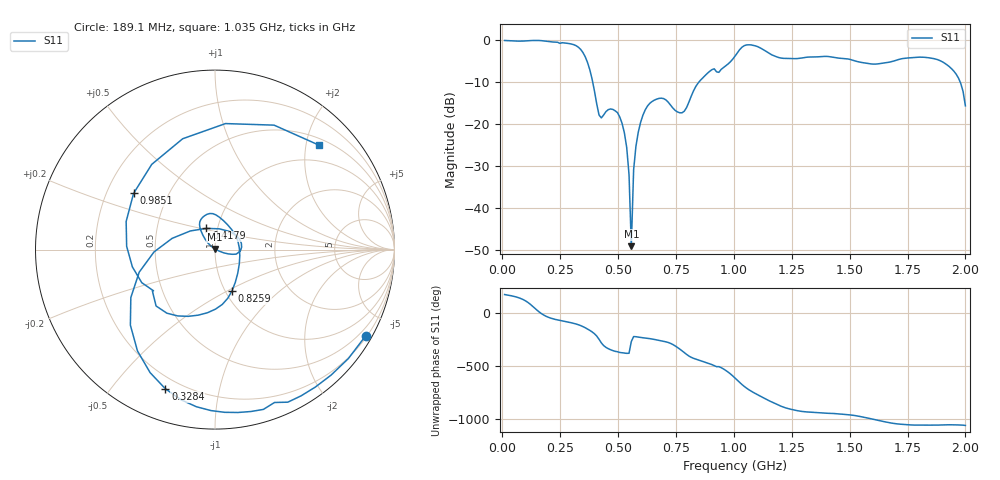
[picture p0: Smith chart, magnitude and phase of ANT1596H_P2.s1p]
!Created with skrf (http://scikit-rf.org).
# Hz S RI R 50.0
!freq ReS11 ImS11
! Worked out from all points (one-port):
!   201 points, 10 MHz to 2 GHz, reference 50 ohm
!   lowest |S11| = -49.1 dB at 557.2 MHz (marker M1), VSWR 1.01, Z = 50 + j0.349 ohm
!   |S11| at or under -10 dB: 390.4 MHz to 849.3 MHz (459 MHz wide, 74 % of centre); 1.977 GHz to end of sweep
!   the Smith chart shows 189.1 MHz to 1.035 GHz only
!   S11 on the Smith chart (normalised r, x): 189.1 MHz: 0.25, -3.76; 328.4 MHz: 0.14, -0.70; 417.9 MHz: 0.88, +0.21; 825.9 MHz: 1.08, -0.53; 985.1 MHz: 0.31, +0.28; 1.035 GHz: 0.63, +2.26
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1e7  -0.9863 0.0711
7.965e7  -0.7267 0.6441
1.1945e8  0.0555 0.9848
1.493e8  0.8634 0.4834
1.891e8  0.8403 -0.4793
2.5875e8  0.2695 -0.8904
3.284e8  -0.2767 -0.7753
3.682e8  -0.4689 -0.2671
4.1795e8  -0.0478 0.1183
5.075e8  0.118 -0.0252
5.3735e8  0.0491 -0.0182
5.5725e8  -0.000107 0.00349
5.672e8  -0.0213 0.0189
6.07e8  -0.0766 0.1008
7.5625e8  0.1129 0.0816
8.259e8  0.0949 -0.2294
9.055e8  -0.2681 -0.3543
9.851e8  -0.4535 0.3135
1.005e9  -0.1801 0.6176
1.03485e9  0.5793 0.5819
1.07465e9  0.8332 -0.2706
1.1244e9  0.1733 -0.7576
1.1841e9  -0.4935 -0.3959
1.25375e9  -0.5858 0.138
1.5025e9  -0.2661 0.5234
1.75125e9  0.5582 0.2506
1.93035e9  0.4411 0.1962
2e9  0.157 0.0492
